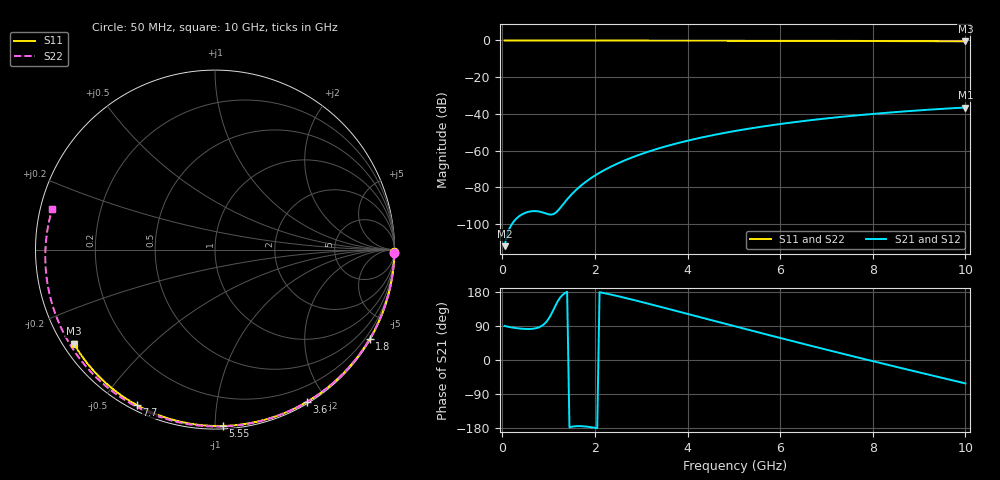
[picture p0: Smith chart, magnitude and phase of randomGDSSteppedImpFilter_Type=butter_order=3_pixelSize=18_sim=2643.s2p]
! freq	dB(S11)	phase(S11)	dB(S12)	phase(S12)
!  dB(S21)	phase(S21)	dB(S22)	phase(S22)
!S-par simulation data
#  GHz  S  DB  R 50
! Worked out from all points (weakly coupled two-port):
!   200 points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, 50 MHz to 10 GHz, reference 50 ohm
!   highest |S21| = -36.54 dB at 10 GHz (marker M1); lowest = -112.1 dB at 50 MHz (marker M2)
!   lowest |S11| = -0.5 dB at 10 GHz (marker M3), VSWR 35.23, Z = 1.55 - j15.1 ohm
!   |S11| at or under -10 dB: nowhere
!   |S22| runs from -0.6 to 0.0 dB; largest |S21 - S12| = 0
!   S11 on the Smith chart (normalised r, x): 50 MHz: open; 1.8 GHz: 0.03, -3.71; 3.6 GHz: 0.02, -1.78; 5.55 GHz: 0.02, -1.04; 7.7 GHz: 0.02, -0.62; 10 GHz: 0.03, -0.30
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0.05  -0.00 -0.9  -112.11 89.9  -112.11 89.9  -0.00 -1.2
0.4  -0.01 -6.8  -95.16 82.8  -95.16 82.8  -0.01 -9.2
0.8  -0.02 -13.5  -93.26 86.7  -93.26 86.7  -0.02 -18.4
1.2  -0.03 -20.2  -92.78 155.6  -92.78 155.6  -0.03 -27.4
1.65  -0.04 -27.7  -80.17 -174.5  -80.17 -174.5  -0.05 -37.5
1.75  -0.04 -29.3  -78.07 -175.0  -78.07 -175.0  -0.05 -39.7
1.8  -0.04 -30.2  -77.10 -175.5  -77.10 -175.5  -0.05 -40.8
2.1  -0.04 -35.0  -72.10 178.9  -72.10 178.9  -0.06 -47.3
2.5  -0.05 -41.5  -66.94 168.3  -66.94 168.3  -0.07 -55.8
2.9  -0.06 -47.9  -62.83 156.4  -62.83 156.4  -0.08 -64.2
3.4  -0.07 -55.7  -58.66 140.8  -58.66 140.8  -0.10 -74.4
3.6  -0.08 -58.8  -57.22 134.5  -57.22 134.5  -0.10 -78.5
4.3  -0.10 -69.4  -52.91 112.1  -52.91 112.1  -0.13 -92.1
5.05  -0.12 -80.4  -49.23 88.1  -49.23 88.1  -0.16 -106.2
5.55  -0.14 -87.5  -47.18 72.3  -47.18 72.3  -0.19 -115.3
6.1  -0.17 -95.2  -45.20 55.0  -45.20 55.0  -0.22 -125.1
6.7  -0.20 -103.4  -43.32 36.4  -43.32 36.4  -0.26 -135.6
7.2  -0.23 -110.1  -41.95 21.1  -41.95 21.1  -0.30 -144.3
7.7  -0.27 -116.6  -40.72 6.0  -40.72 6.0  -0.34 -152.9
8.35  -0.32 -125.1  -39.31 -13.5  -39.31 -13.5  -0.40 -164.2
9.2  -0.40 -136.0  -37.75 -38.5  -37.75 -38.5  -0.49 -179.3
10  -0.49 -146.3  -36.54 -61.7  -36.54 -61.7  -0.58 166.0
